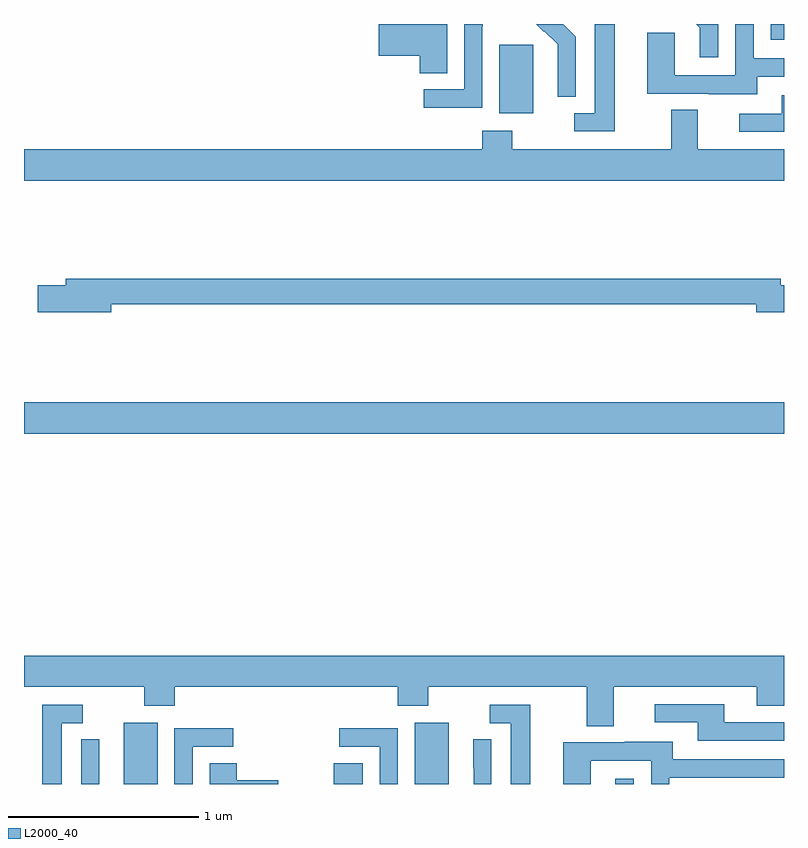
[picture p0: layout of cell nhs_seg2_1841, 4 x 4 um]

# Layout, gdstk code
import gdstk
lib = gdstk.Library(unit=1e-6, precision=1e-09)
def R(c, l, rs):  # rectangles x0, y0, x1, y1
    for r in rs: c.add(gdstk.rectangle(r[:2], r[2:], *l))
def P(c, l, *ps):  # polygons
    for p in ps: c.add(gdstk.Polygon(p, *l))
L2000_40 = (2000, 40)

nhs_seg2_1841 = lib.new_cell('nhs_seg2_1841')
R(nhs_seg2_1841, L2000_40, [(207.524,637.8,207.703,638.122), (208.631,637.8,208.783,637.91), (209.057,637.8,209.236,638.122), (210.113,637.8,210.21,637.828), (207,639.644,211,639.808), (209.501,641.33,209.68,641.691), (210.93,641.718,211,641.8)])
P(nhs_seg2_1841, L2000_40, [(209.227,641.8),(208.866,641.8),(208.866,641.633),(209.084,641.633),(209.084,641.542),(209.227,641.542)],
  [(210.859,641.523),(211,641.523),(211,641.619),(210.84,641.619),(210.84,641.8),(210.744,641.8),(210.744,641.529),(210.426,641.529),(210.426,641.753),(210.281,641.753),(210.281,641.433),(210.605,641.433),(210.605,641.429),(210.859,641.429)],
  [(209.904,641.734),(209.838,641.8),(209.696,641.8),(209.736,641.76),(209.739,641.763),(209.81,641.693),(209.81,641.57),(209.808,641.57),(209.808,641.416),(209.904,641.416)],
  [(209.412,641.788),(209.415,641.788),(209.415,641.8),(209.316,641.8),(209.316,641.457),(209.103,641.457),(209.103,641.359),(209.412,641.359)],
  [(210.109,641.8),(210.005,641.8),(210.005,641.331),(209.895,641.331),(209.895,641.235),(210.109,641.235)],
  [(210.654,641.8),(210.538,641.8),(210.557,641.781),(210.557,641.625),(210.654,641.625)],
  [(211,641.424),(210.989,641.424),(210.989,641.328),(210.765,641.328),(210.765,641.232),(211,641.232)],
  [(211,641.14),(210.547,641.14),(210.547,641.348),(210.407,641.348),(210.407,641.14),(209.571,641.14),(209.571,641.239),(209.411,641.239),(209.411,641.14),(207,641.14),(207,640.976),(211,640.976)],
  [(207.46,640.324),(210.854,640.324),(210.854,640.282),(211,640.282),(211,640.424),(210.982,640.424),(210.982,640.46),(207.221,640.46),(207.221,640.424),(207.072,640.424),(207.072,640.282),(207.46,640.282)],
  [(210.103,638.312),(210.857,638.312),(210.857,638.213),(211,638.213),(211,638.476),(207,638.476),(207,638.312),(207.634,638.312),(207.634,638.213),(207.794,638.213),(207.794,638.312),(208.967,638.312),(208.967,638.213),(209.127,638.213),(209.127,638.312),(209.963,638.312),(209.963,638.104),(210.103,638.104)],
  [(211,638.124),(210.685,638.124),(210.685,638.22),(210.321,638.22),(210.321,638.124),(210.545,638.124),(210.545,638.028),(211,638.028)],
  [(209.665,638.217),(209.451,638.217),(209.451,638.121),(209.561,638.121),(209.561,637.8),(209.665,637.8)],
  [(207.199,638.121),(207.31,638.121),(207.31,638.217),(207.095,638.217),(207.095,637.8),(207.199,637.8)],
  [(208.968,638.094),(208.659,638.094),(208.659,637.995),(208.872,637.995),(208.872,637.8),(208.968,637.8)],
  [(207.888,637.995),(208.102,637.995),(208.102,638.094),(207.792,638.094),(207.792,637.8),(207.888,637.8)],
  [(209.46,638.036),(209.364,638.036),(209.364,637.882),(209.366,637.882),(209.366,637.8),(209.46,637.8)],
  [(207.395,637.882),(207.396,637.882),(207.396,638.036),(207.3,638.036),(207.3,637.8),(207.395,637.8)],
  [(209.982,637.923),(210.3,637.923),(210.3,637.8),(210.396,637.8),(210.396,637.833),(211,637.833),(211,637.929),(210.415,637.929),(210.415,638.023),(210.161,638.023),(210.161,638.019),(209.837,638.019),(209.837,637.8),(209.982,637.8)],
  [(208.339,637.82),(208.121,637.82),(208.121,637.91),(207.977,637.91),(207.977,637.8),(208.339,637.8)])

lib.write_gds('nhs_seg2_1841.gds')
